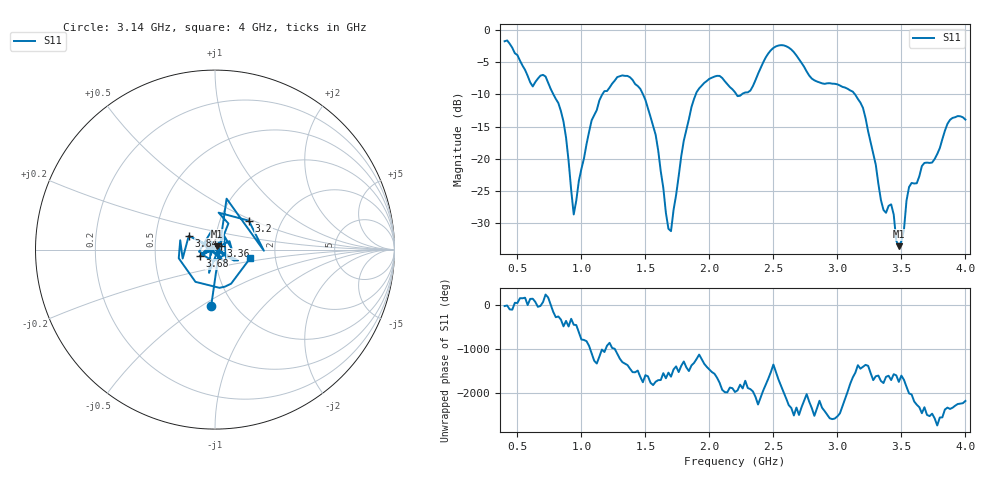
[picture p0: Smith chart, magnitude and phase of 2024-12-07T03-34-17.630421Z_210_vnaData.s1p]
!Created with skrf (http://scikit-rf.org).
# Hz S RI R 50.0
!freq ReS11 ImS11
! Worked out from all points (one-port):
!   181 points, 400 MHz to 4 GHz, reference 50 ohm
!   lowest |S11| = -33.5 dB at 3.48 GHz (marker M1), VSWR 1.04, Z = 51.1 + j1.83 ohm
!   |S11| at or under -10 dB: 780.9 MHz to 1.164 GHz (382.9 MHz wide, 39.4 % of centre); 1.481 GHz to 1.894 GHz (412.6 MHz wide, 24.5 % of centre); 3.137 GHz to end of sweep (the widest 3 of 4)
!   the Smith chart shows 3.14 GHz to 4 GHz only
!   S11 on the Smith chart (normalised r, x): 3.14 GHz: 0.79, -0.55; 3.2 GHz: 1.37, +0.47; 3.36 GHz: 1.07, +0.05; 3.68 GHz: 0.84, -0.06; 3.84 GHz: 0.74, +0.12; 4 GHz: 1.48, -0.15
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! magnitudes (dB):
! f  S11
! 400 MHz  -1.8
! 620 MHz  -8.8
! 720 MHz  -7.2
! 860 MHz  -14.2
! 940 MHz  -28.6
! 1.08 GHz  -14.0
! 1.3 GHz  -7.2
! 1.5 GHz  -10.9
! 1.58 GHz  -16.3
! 1.68 GHz  -30.8
! 1.7 GHz  -31.2
! 1.76 GHz  -22.7
! 1.9 GHz  -9.7
! 2.06 GHz  -7.1
! 2.2 GHz  -9.7
! 2.32 GHz  -9.4
! 2.5 GHz  -2.8
! 2.66 GHz  -3.5
! 3.1 GHz  -9.4
! 3.14 GHz  -10.1
! 3.2 GHz  -12.1
! 3.36 GHz  -27.9
! 3.42 GHz  -27.0
! 3.48 GHz  -33.5
! 3.56 GHz  -24.4
! 3.68 GHz  -20.6
! 3.84 GHz  -15.6
! 4 GHz  -13.9
